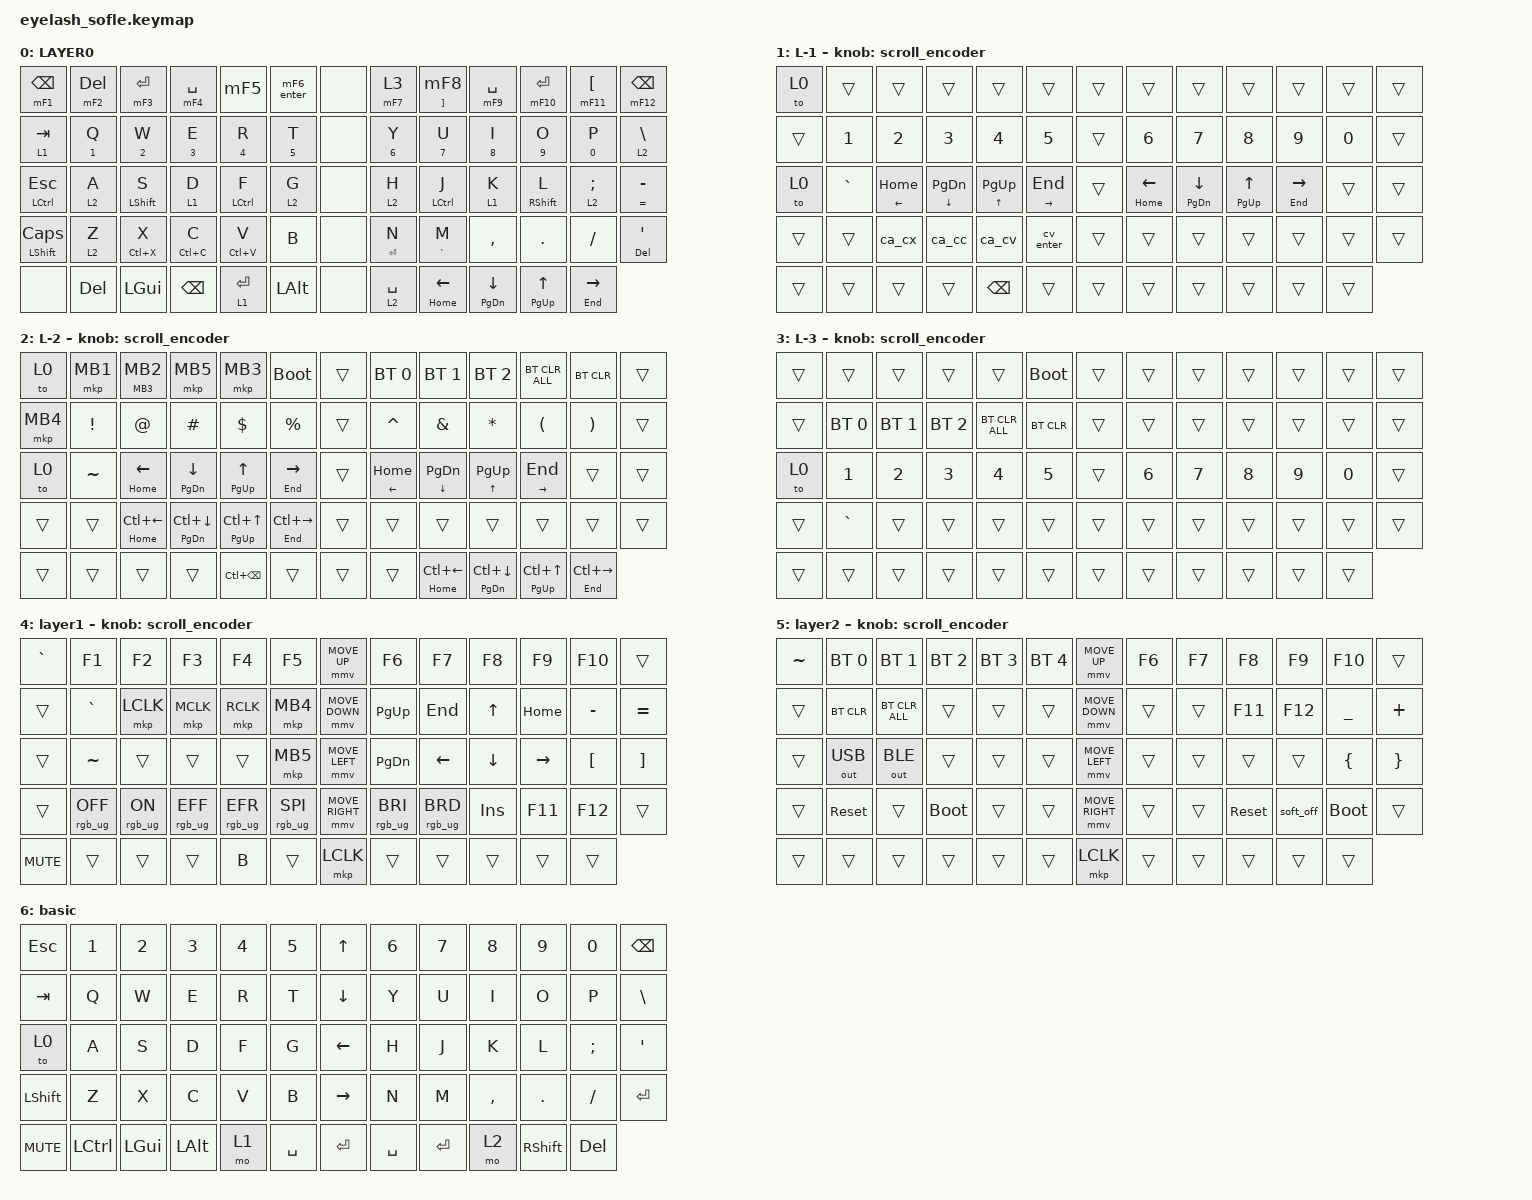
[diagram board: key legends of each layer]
#define ZMK_POINTING_DEFAULT_MOVE_VAL 1200  // 600
#define ZMK_POINTING_DEFAULT_SCRL_VAL 25   // 10

#include <input/processors.dtsi>
#include <zephyr/dt-bindings/input/input-event-codes.h>
#include <behaviors.dtsi>
#include <dt-bindings/zmk/bt.h>
#include <dt-bindings/zmk/keys.h>
#include <dt-bindings/zmk/outputs.h>
#include <dt-bindings/zmk/pointing.h>
#include <dt-bindings/zmk/rgb.h>

&mmv_input_listener { input-processors = <&zip_xy_scaler 2 1>; };

&msc_input_listener { input-processors = <&zip_scroll_scaler 2 1>; };

&msc {
    acceleration-exponent = <1>;      // 0
    time-to-max-speed-ms = <100>;       // 300
    delay-ms = <0>;                   // 0
};

&mmv {
    time-to-max-speed-ms = <1500>;
    acceleration-exponent = <1>;
    trigger-period-ms = <16>;
};

&soft_off { hold-time-ms = <2000>; };

&lt { tapping-term-ms = <150>; };

/ {
    behaviors {
        scroll_encoder: scroll_encoder {
            compatible = "zmk,behavior-sensor-rotate";
            #sensor-binding-cells = <0>;
            bindings = <&msc SCRL_DOWN>, <&msc SCRL_UP>;

            tap-ms = <100>;
        };

        mF1: mF1 {
            compatible = "zmk,behavior-mod-morph";
            label = "MF1";
            bindings = <&kp F1>, <&kp N1>;

            #binding-cells = <0>;
            mods = <(MOD_LGUI|MOD_RGUI)>;
            keep-mods = <(MOD_RGUI|MOD_LGUI)>;
        };

        mF2: mF2 {
            compatible = "zmk,behavior-mod-morph";
            label = "MF2";
            bindings = <&kp F2>, <&kp N2>;

            #binding-cells = <0>;
            mods = <(MOD_LGUI|MOD_RGUI)>;
            keep-mods = <(MOD_RGUI|MOD_LGUI)>;
        };

        mF3: mF3 {
            compatible = "zmk,behavior-mod-morph";
            label = "MF3";
            bindings = <&kp F3>, <&kp N3>;

            #binding-cells = <0>;
            mods = <(MOD_LGUI|MOD_RGUI)>;
            keep-mods = <(MOD_RGUI|MOD_LGUI)>;
        };

        mF4: mF4 {
            compatible = "zmk,behavior-mod-morph";
            label = "MF4";
            bindings = <&kp F4>, <&kp N4>;

            #binding-cells = <0>;
            mods = <(MOD_LGUI|MOD_RGUI)>;
            keep-mods = <(MOD_RGUI|MOD_LGUI)>;
        };

        mF5: mF5 {
            compatible = "zmk,behavior-mod-morph";
            label = "MF5";
            bindings = <&kp F5>, <&kp N5>;

            #binding-cells = <0>;
            mods = <(MOD_LGUI|MOD_RGUI)>;
            keep-mods = <(MOD_RGUI|MOD_LGUI)>;
        };

        mF6: mF6 {
            compatible = "zmk,behavior-mod-morph";
            label = "MF6";
            bindings = <&kp F6>, <&kp N6>;

            #binding-cells = <0>;
            mods = <(MOD_LGUI|MOD_RGUI)>;
            keep-mods = <(MOD_RGUI|MOD_LGUI)>;
        };

        mF7: mF7 {
            compatible = "zmk,behavior-mod-morph";
            label = "MF7";
            bindings = <&kp F7>, <&kp N7>;

            #binding-cells = <0>;
            mods = <(MOD_LGUI|MOD_RGUI)>;
            keep-mods = <(MOD_RGUI|MOD_LGUI)>;
        };

        mF8: mF8 {
            compatible = "zmk,behavior-mod-morph";
            label = "MF8";
            bindings = <&kp F8>, <&kp N8>;

            #binding-cells = <0>;
            mods = <(MOD_LGUI|MOD_RGUI)>;
            keep-mods = <(MOD_RGUI|MOD_LGUI)>;
        };

        mF9: mF9 {
            compatible = "zmk,behavior-mod-morph";
            label = "MF9";
            bindings = <&kp F9>, <&kp N9>;

            #binding-cells = <0>;
            mods = <(MOD_LGUI|MOD_RGUI)>;
            keep-mods = <(MOD_RGUI|MOD_LGUI)>;
        };

        mF10: mF10 {
            compatible = "zmk,behavior-mod-morph";
            label = "MF10";
            bindings = <&kp F10>, <&kp N0>;

            #binding-cells = <0>;
            mods = <(MOD_LGUI|MOD_RGUI)>;
            keep-mods = <(MOD_RGUI|MOD_LGUI)>;
        };

        mF11: mF11 {
            compatible = "zmk,behavior-mod-morph";
            label = "MF11";
            bindings = <&kp F11>, <&kp MINUS>;

            #binding-cells = <0>;
            mods = <(MOD_LGUI|MOD_RGUI)>;
            keep-mods = <(MOD_RGUI|MOD_LGUI)>;
        };

        mF12: mF12 {
            compatible = "zmk,behavior-mod-morph";
            label = "MF12";
            bindings = <&kp F12>, <&kp EQUAL>;

            #binding-cells = <0>;
            mods = <(MOD_LGUI|MOD_RGUI)>;
            keep-mods = <(MOD_RGUI|MOD_LGUI)>;
        };

        S_CAPS: S_CAPS {
            compatible = "zmk,behavior-tap-dance";
            label = "S_CAPS";
            #binding-cells = <0>;
            bindings = <&kp LSHFT>, <&kp CAPS>;
        };

        S4_CAPS: S4_CAPS {
            compatible = "zmk,behavior-tap-dance";
            label = "S4_CAPS";
            #binding-cells = <0>;
            bindings = <&lt 4 LSHIFT>, <&kp CAPS>;
        };

        S4_PSCN: S4_PSCN {
            compatible = "zmk,behavior-tap-dance";
            label = "S4_PSCN";
            #binding-cells = <0>;
            bindings = <&lt 4 PRINTSCREEN>, <&kp PRINTSCREEN>;
        };

        tog_on: tog_on {
            compatible = "zmk,behavior-toggle-layer";
            label = "TOG_ON";
            #binding-cells = <1>;
        };

        to_kp: to_kp {
            compatible = "zmk,behavior-hold-tap";
            label = "TO_KP";
            bindings = <&to>, <&kp>;

            #binding-cells = <2>;
            tapping-term-ms = <200>;
            flavor = "balanced";
        };

        mkp_kp_main: mkp_kp_main {
            compatible = "zmk,behavior-hold-tap";
            label = "MKP_KP_MAIN";
            bindings = <&mkp>, <&kp>;

            #binding-cells = <2>;
            tapping-term-ms = <250>;
        };

        mt_main: mt_main {
            compatible = "zmk,behavior-hold-tap";
            label = "MT_MAIN";
            bindings = <&kp>, <&kp>;

            #binding-cells = <2>;
            tapping-term-ms = <200>;
            flavor = "balanced";
        };

        mt_slow: mt_slow {
            compatible = "zmk,behavior-hold-tap";
            label = "MT_SLOW";
            bindings = <&kp>, <&kp>;

            #binding-cells = <2>;
            tapping-term-ms = <280>;
            flavor = "balanced";
        };

        mt_fast: mt_fast {
            compatible = "zmk,behavior-hold-tap";
            label = "MT_FAST";
            bindings = <&kp>, <&kp>;

            #binding-cells = <2>;
            tapping-term-ms = <160>;
            flavor = "balanced";
        };

        lt_main: lt_main {
            compatible = "zmk,behavior-hold-tap";
            label = "LT_MAIN";
            bindings = <&mo>, <&kp>;

            #binding-cells = <2>;
            tapping-term-ms = <250>;
            flavor = "balanced";
        };

        lt_slow: lt_slow {
            compatible = "zmk,behavior-hold-tap";
            label = "LT_SLOW";
            bindings = <&mo>, <&kp>;

            #binding-cells = <2>;
            tapping-term-ms = <400>;
            flavor = "balanced";
        };

        to_kp_slow: to_kp_slow {
            compatible = "zmk,behavior-hold-tap";
            label = "TO_KP_SLOW";
            bindings = <&to>, <&kp>;

            #binding-cells = <2>;
            tapping-term-ms = <400>;
            flavor = "balanced";
        };

        kp_to_slow: kp_to_slow {
            compatible = "zmk,behavior-hold-tap";
            label = "KP_TO_SLOW";
            bindings = <&kp>, <&to>;

            #binding-cells = <2>;
            tapping-term-ms = <400>;
            flavor = "balanced";
        };

        mMB1_F1: mMB1_F1 {
            compatible = "zmk,behavior-mod-morph";
            label = "MMB1_F1";
            bindings = <&mkp_kp_main MB1 F1>, <&kp N1>;

            #binding-cells = <0>;
            mods = <(MOD_LGUI|MOD_RGUI)>;
            keep-mods = <(MOD_RGUI|MOD_LGUI)>;
        };

        mMB2_F2: mMB2_F2 {
            compatible = "zmk,behavior-mod-morph";
            label = "MMB2_F2";
            bindings = <&mkp_kp_main MB2 F2>, <&kp N2>;

            #binding-cells = <0>;
            mods = <(MOD_LGUI|MOD_RGUI)>;
            keep-mods = <(MOD_RGUI|MOD_LGUI)>;
        };

        mMB3_F3: mMB3_F3 {
            compatible = "zmk,behavior-mod-morph";
            label = "MMB3_F3";
            bindings = <&mkp_kp_main MB3 F3>, <&kp N3>;

            #binding-cells = <0>;
            mods = <(MOD_LGUI|MOD_RGUI)>;
            keep-mods = <(MOD_RGUI|MOD_LGUI)>;
        };

        mkp_mkp_quick: mkp_mkp_quick {
            compatible = "zmk,behavior-hold-tap";
            label = "MKP_MKP_QUICK";
            bindings = <&mkp>, <&mkp>;

            #binding-cells = <2>;
            tapping-term-ms = <200>;
        };

        kp_mF1: kp_mF1 {
            compatible = "zmk,behavior-hold-tap";
            label = "KP_MF1";
            bindings = <&mF1>, <&kp>;

            #binding-cells = <2>;
            tapping-term-ms = <200>;
        };

        kp_mF2: kp_mF2 {
            compatible = "zmk,behavior-hold-tap";
            label = "KP_MF2";
            bindings = <&mF2>, <&kp>;

            #binding-cells = <2>;
            tapping-term-ms = <200>;
        };

        kp_mF3: kp_mF3 {
            compatible = "zmk,behavior-hold-tap";
            label = "KP_MF3";
            bindings = <&mF3>, <&kp>;

            #binding-cells = <2>;
            tapping-term-ms = <200>;
        };

        kp_mF4: kp_mF4 {
            compatible = "zmk,behavior-hold-tap";
            label = "KP_MF4";
            bindings = <&mF4>, <&kp>;

            #binding-cells = <2>;
            tapping-term-ms = <200>;
        };

        kp_mF5: kp_mF5 {
            compatible = "zmk,behavior-hold-tap";
            label = "KP_MF5";
            bindings = <&mF5>, <&kp>;

            #binding-cells = <2>;
            tapping-term-ms = <200>;
        };

        kp_mF6: kp_mF6 {
            compatible = "zmk,behavior-hold-tap";
            label = "KP_MF6";
            bindings = <&mF6>, <&kp>;

            #binding-cells = <2>;
            tapping-term-ms = <200>;
        };

        kp_mF7: kp_mF7 {
            compatible = "zmk,behavior-hold-tap";
            label = "KP_MF7";
            bindings = <&mF7>, <&kp>;

            #binding-cells = <2>;
            tapping-term-ms = <200>;
        };

        kp_mF8: kp_mF8 {
            compatible = "zmk,behavior-hold-tap";
            label = "KP_MF8";
            bindings = <&mF8>, <&kp>;

            #binding-cells = <2>;
            tapping-term-ms = <200>;
        };

        kp_mF9: kp_mF9 {
            compatible = "zmk,behavior-hold-tap";
            label = "KP_MF9";
            bindings = <&mF9>, <&kp>;

            #binding-cells = <2>;
            tapping-term-ms = <200>;
        };

        kp_mF10: kp_mF10 {
            compatible = "zmk,behavior-hold-tap";
            label = "KP_MF10";
            bindings = <&mF10>, <&kp>;

            #binding-cells = <2>;
            tapping-term-ms = <200>;
            flavor = "balanced";
        };

        kp_mF11: kp_mF11 {
            compatible = "zmk,behavior-hold-tap";
            label = "KP_MF11";
            bindings = <&mF11>, <&kp>;

            #binding-cells = <2>;
            tapping-term-ms = <200>;
        };

        kp_mF12: kp_mF12 {
            compatible = "zmk,behavior-hold-tap";
            label = "KP_MF12";
            bindings = <&mF12>, <&kp>;

            #binding-cells = <2>;
            tapping-term-ms = <200>;
        };

        mF1_kp: mF1_kp {
            compatible = "zmk,behavior-hold-tap";
            label = "MF1_KP";
            bindings = <&kp>, <&mF1>;

            #binding-cells = <2>;
            tapping-term-ms = <200>;
            flavor = "balanced";
        };

        mF2_kp: mF2_kp {
            compatible = "zmk,behavior-hold-tap";
            label = "MF2_KP";
            bindings = <&kp>, <&mF2>;

            #binding-cells = <2>;
            tapping-term-ms = <200>;
            flavor = "balanced";
        };

        mF3_kp: mF3_kp {
            compatible = "zmk,behavior-hold-tap";
            label = "MF3_KP";
            bindings = <&kp>, <&mF3>;

            #binding-cells = <2>;
            tapping-term-ms = <200>;
            flavor = "balanced";
        };

        mF4_kp: mF4_kp {
            compatible = "zmk,behavior-hold-tap";
            label = "MF4_KP";
            bindings = <&kp>, <&mF4>;

            #binding-cells = <2>;
            tapping-term-ms = <200>;
            flavor = "balanced";
        };

        mF5_kp: mF5_kp {
            compatible = "zmk,behavior-hold-tap";
            label = "MF5_KP";
            bindings = <&kp>, <&mF5>;

            #binding-cells = <2>;
            tapping-term-ms = <200>;
            flavor = "balanced";
        };

        mF6_kp: mF6_kp {
            compatible = "zmk,behavior-hold-tap";
            label = "MF6_KP";
            bindings = <&kp>, <&mF6>;

            #binding-cells = <2>;
            tapping-term-ms = <200>;
            flavor = "balanced";
        };

        mF7_kp: mF7_kp {
            compatible = "zmk,behavior-hold-tap";
            label = "MF7_KP";
            bindings = <&kp>, <&mF7>;

            #binding-cells = <2>;
            tapping-term-ms = <200>;
            flavor = "balanced";
        };

        mF8_kp: mF8_kp {
            compatible = "zmk,behavior-hold-tap";
            label = "MF8_KP";
            bindings = <&kp>, <&mF8>;

            #binding-cells = <2>;
            tapping-term-ms = <200>;
            flavor = "balanced";
        };

        mF9_kp: mF9_kp {
            compatible = "zmk,behavior-hold-tap";
            label = "MF9_KP";
            bindings = <&kp>, <&mF9>;

            #binding-cells = <2>;
            tapping-term-ms = <200>;
            flavor = "balanced";
        };

        mF10_kp: mF10_kp {
            compatible = "zmk,behavior-hold-tap";
            label = "MF10_KP";
            bindings = <&kp>, <&mF10>;

            #binding-cells = <2>;
            tapping-term-ms = <200>;
            flavor = "balanced";
        };

        mF11_kp: mF11_kp {
            compatible = "zmk,behavior-hold-tap";
            label = "MF11_KP";
            bindings = <&kp>, <&mF11>;

            #binding-cells = <2>;
            tapping-term-ms = <200>;
            flavor = "balanced";
        };

        mF12_kp: mF12_kp {
            compatible = "zmk,behavior-hold-tap";
            label = "MF12_KP";
            bindings = <&kp>, <&mF12>;

            #binding-cells = <2>;
            tapping-term-ms = <200>;
            flavor = "balanced";
        };

        mF6_enter: mF6_enter {
            compatible = "zmk,behavior-tap-dance";
            label = "MF6_ENTER";
            #binding-cells = <0>;
            bindings = <&mF6>, <&kp ENTER>;

            tapping-term-ms = <400>;
        };

        to_mF7: to_mF7 {
            compatible = "zmk,behavior-hold-tap";
            label = "TO_MF7";
            #binding-cells = <2>;
            tapping-term-ms = <200>;
            flavor = "balanced";
            bindings = <&mF7>, <&to>;
        };
    };

    combos {
        compatible = "zmk,combos";

        softoff {
            bindings = <&soft_off>;
            key-positions = <14 28 40>;
        };
    };

    macros {
        SHIFT_MCLK: SHIFT_MCLK {
            compatible = "zmk,behavior-macro";
            #binding-cells = <0>;
            bindings =
                <&macro_press>,
                <&kp LEFT_SHIFT>,
                <&macro_press>,
                <&mkp MB3>,
                <&macro_pause_for_release>,
                <&macro_release>,
                <&kp LEFT_SHIFT &mkp MB3>;

            label = "SHIFT_MCLK";
        };

        ca_cv: ca_cv {
            compatible = "zmk,behavior-macro";
            #binding-cells = <0>;
            bindings = <&kp LC(A) &kp LC(V)>;
            label = "CA_CV";
        };

        ca_cc: ca_cc {
            compatible = "zmk,behavior-macro";
            #binding-cells = <0>;
            bindings = <&kp LC(A) &kp LC(C)>;
            label = "CA_CC";
        };

        ca_cx: cx_cv {
            compatible = "zmk,behavior-macro";
            #binding-cells = <0>;
            bindings = <&kp LC(A) &kp RC(X)>;
            label = "CX_CV";
        };

        cv_enter: ca_cv_enter {
            compatible = "zmk,behavior-macro";
            #binding-cells = <0>;
            bindings = <&kp RC(V) &kp ENTER>;
            label = "CA_CV_ENTER";
        };
    };

    keymap {
        compatible = "zmk,keymap";

        layer0 {
            bindings = <
&kp_mF1 0 BACKSPACE  &kp_mF2 0 DEL  &kp_mF3 0 ENTER   &kp_mF4 0 SPACE   &mF5              &mF6_enter       &none  &to_mF7 0 3       &mF8_kp RBKT 0      &kp_mF9 0 SPACE      &kp_mF10 0 ENTER   &kp_mF11 0 LBKT     &kp_mF12 0 BACKSPACE
&to_kp_slow 1 TAB    &mt_main N1 Q  &mt_main N2 W     &mt_slow N3 E     &mt_main N4 R     &mt_main N5 T    &none  &mt_main N6 Y     &mt_main N7 U       &mt_slow N8 I        &mt_slow N9 O      &mt_main N0 P       &to_kp_slow 2 BSLH
&mt_slow LCTRL ESC   &lt_main 2 A   &mt_main LSHFT S  &lt_main 1 D      &mt_main LCTRL F  &lt_main 2 G     &none  &lt_main 2 H      &mt_main LCTRL J    &lt_main 1 K         &mt_main RSHFT L   &lt_main 2 SEMI     &mt_fast EQUAL MINUS
&mt_main LSHFT CAPS  &lt_main 2 Z   &mt_main LC(X) X  &mt_main LC(C) C  &mt_main LC(V) V  &kp B            &none  &mt_fast ENTER N  &mt_main GRAVE M    &kp COMMA            &kp DOT            &kp FSLH            &mt_main DEL SQT
&none                &kp DEL        &kp LEFT_GUI      &kp BACKSPACE     &lt_slow 1 ENTER  &kp LALT         &none  &lt_slow 2 SPACE  &mt_main HOME LEFT  &mt_main PG_DN DOWN  &mt_main PG_UP UP  &mt_main END RIGHT
            >;

            display-name = "LAYER0";
        };

        L1 {
            bindings = <
&to 0   &trans     &trans              &trans               &trans             &trans                &trans  &trans              &trans               &trans             &trans              &trans  &trans
&trans  &kp N1     &kp N2              &kp N3               &kp N4             &kp N5                &trans  &kp N6              &kp N7               &kp N8             &kp N9              &kp N0  &trans
&to 0   &kp GRAVE  &mt_main LEFT HOME  &mt_main DOWN PG_DN  &mt_main UP PG_UP  &mt_main RIGHT END    &trans  &mt_main HOME LEFT  &mt_main PG_DN DOWN  &mt_main PG_UP UP  &mt_main END RIGHT  &trans  &trans
&trans  &trans     &ca_cx              &ca_cc               &ca_cv             &cv_enter             &trans  &trans              &trans               &trans             &trans              &trans  &trans
&trans  &trans     &trans              &trans               &kp BACKSPACE      &trans                &trans  &trans              &trans               &trans             &trans              &trans
            >;

            display-name = "L-1";
            sensor-bindings = <&scroll_encoder>;
        };

        L2 {
            bindings = <
&to 0     &mkp MB1   &mkp_mkp_quick MB3 MB2  &mkp MB5                 &mkp MB3               &bootloader               &trans  &bt BT_SEL 0        &bt BT_SEL 1            &bt BT_SEL 2             &bt BT_CLR_ALL         &bt BT_CLR              &trans
&mkp MB4  &kp EXCL   &kp AT                  &kp HASH                 &kp DLLR               &kp PRCNT                 &trans  &kp CARET           &kp AMPS                &kp STAR                 &kp LPAR               &kp RPAR                &trans
&to 0     &kp TILDE  &mt_main HOME LEFT      &mt_main PG_DN DOWN      &mt_main PG_UP UP      &mt_main END RIGHT        &trans  &mt_main LEFT HOME  &mt_main DOWN PG_DN     &mt_main UP PG_UP        &mt_main RIGHT END     &trans                  &trans
&trans    &trans     &mt_main HOME LC(LEFT)  &mt_main PG_DN LC(DOWN)  &mt_main PG_UP LC(UP)  &mt_main END LC(RIGHT)    &trans  &trans              &trans                  &trans                   &trans                 &trans                  &trans
&trans    &trans     &trans                  &trans                   &kp LC(BACKSPACE)      &trans                    &trans  &trans              &mt_main HOME LC(LEFT)  &mt_main PG_DN LC(DOWN)  &mt_main PG_UP LC(UP)  &mt_main END LC(RIGHT)
            >;

            display-name = "L-2";
            sensor-bindings = <&scroll_encoder>;
        };

        L3 {
            display-name = "L-3";
            bindings = <
&trans  &trans        &trans        &trans        &trans          &bootloader    &trans  &trans  &trans  &trans  &trans  &trans  &trans
&trans  &bt BT_SEL 0  &bt BT_SEL 1  &bt BT_SEL 2  &bt BT_CLR_ALL  &bt BT_CLR     &trans  &trans  &trans  &trans  &trans  &trans  &trans
&to 0   &kp N1        &kp N2        &kp N3        &kp N4          &kp N5         &trans  &kp N6  &kp N7  &kp N8  &kp N9  &kp N0  &trans
&trans  &kp GRAVE     &trans        &trans        &trans          &trans         &trans  &trans  &trans  &trans  &trans  &trans  &trans
&trans  &trans        &trans        &trans        &trans          &trans         &trans  &trans  &trans  &trans  &trans  &trans
            >;

            sensor-bindings = <&scroll_encoder>;
        };

        layer_1 {
            bindings = <
&kp GRAVE   &kp F1           &kp F2          &kp F3           &kp F4           &kp F5             &mmv MOVE_UP     &kp F6           &kp F7           &kp F8      &kp F9     &kp F10           &trans
&trans      &kp GRAVE        &mkp LCLK       &mkp MCLK        &mkp RCLK        &mkp MB4           &mmv MOVE_DOWN   &kp PG_UP        &kp END          &kp UP      &kp HOME   &kp MINUS         &kp EQUAL
&trans      &kp TILDE        &trans          &trans           &trans           &mkp MB5           &mmv MOVE_LEFT   &kp PG_DN        &kp LEFT         &kp DOWN    &kp RIGHT  &kp LEFT_BRACKET  &kp RIGHT_BRACKET
&trans      &rgb_ug RGB_OFF  &rgb_ug RGB_ON  &rgb_ug RGB_EFF  &rgb_ug RGB_EFR  &rgb_ug RGB_SPI    &mmv MOVE_RIGHT  &rgb_ug RGB_BRI  &rgb_ug RGB_BRD  &kp INSERT  &kp F11    &kp F12           &trans
&kp C_MUTE  &trans           &trans          &trans           &kp B            &trans             &mkp LCLK        &trans           &trans           &trans      &trans     &trans
            >;

            display-name = "layer1";
            sensor-bindings = <&scroll_encoder>;
        };

        layer_2 {
            bindings = <
&kp TILDE  &bt BT_SEL 0  &bt BT_SEL 1    &bt BT_SEL 2  &bt BT_SEL 3  &bt BT_SEL 4    &mmv MOVE_UP     &kp F6  &kp F7  &kp F8      &kp F9     &kp F10      &trans
&trans     &bt BT_CLR    &bt BT_CLR_ALL  &trans        &trans        &trans          &mmv MOVE_DOWN   &trans  &trans  &kp F11     &kp F12    &kp UNDER    &kp PLUS
&trans     &out OUT_USB  &out OUT_BLE    &trans        &trans        &trans          &mmv MOVE_LEFT   &trans  &trans  &trans      &trans     &kp LBRC     &kp RBRC
&trans     &sys_reset    &trans          &bootloader   &trans        &trans          &mmv MOVE_RIGHT  &trans  &trans  &sys_reset  &soft_off  &bootloader  &trans
&trans     &trans        &trans          &trans        &trans        &trans          &mkp LCLK        &trans  &trans  &trans      &trans     &trans
            >;

            display-name = "layer2";
            sensor-bindings = <&scroll_encoder>;
        };

        layer_basic {
            display-name = "basic";
            bindings = <
&kp ESC     &kp N1     &kp N2        &kp N3        &kp N4  &kp N5       &kp UP_ARROW     &kp N6     &kp N7     &kp N8     &kp N9           &kp N0      &kp BACKSPACE
&kp TAB     &kp Q      &kp W         &kp E         &kp R   &kp T        &kp DOWN_ARROW   &kp Y      &kp U      &kp I      &kp O            &kp P       &kp BSLH
&to 0       &kp A      &kp S         &kp D         &kp F   &kp G        &kp LEFT_ARROW   &kp H      &kp J      &kp K      &kp L            &kp SEMI    &kp APOS
&kp LSHFT   &kp Z      &kp X         &kp C         &kp V   &kp B        &kp RIGHT_ARROW  &kp N      &kp M      &kp COMMA  &kp DOT          &kp FSLH    &kp ENTER
&kp C_MUTE  &kp LCTRL  &kp LEFT_GUI  &kp LEFT_ALT  &mo 1   &kp SPACE    &kp ENTER        &kp SPACE  &kp ENTER  &mo 2      &kp RIGHT_SHIFT  &kp DELETE
            >;
        };
    };
};
